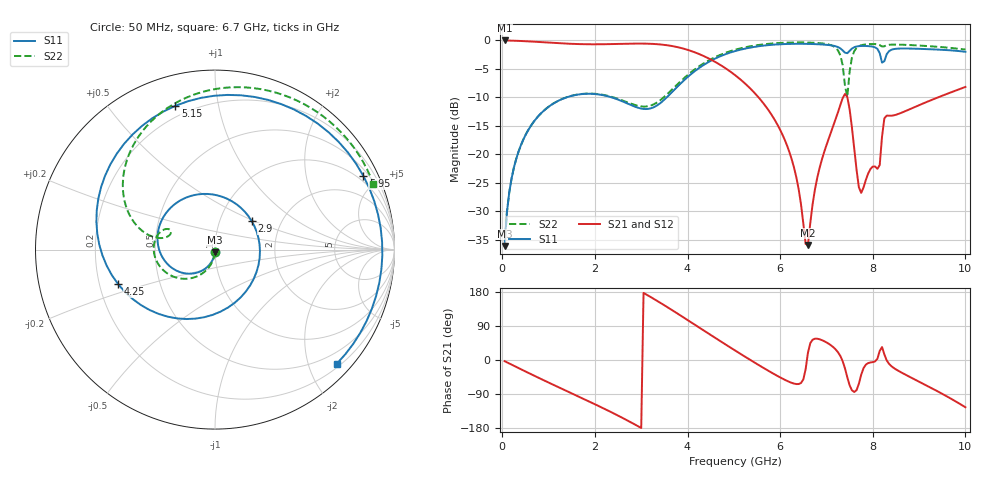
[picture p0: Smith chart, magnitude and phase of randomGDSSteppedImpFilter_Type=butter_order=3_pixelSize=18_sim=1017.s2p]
! freq	dB(S11)	phase(S11)	dB(S12)	phase(S12)
!  dB(S21)	phase(S21)	dB(S22)	phase(S22)
!S-par simulation data
#  GHz  S  DB  R 50
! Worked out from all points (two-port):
!   200 points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, 50 MHz to 10 GHz, reference 50 ohm
!   highest |S21| = -0.01 dB at 50 MHz (marker M1); lowest = -35.9 dB at 6.6 GHz (marker M2)
!   |S21| within 3 dB of the highest: start of sweep to 4.418 GHz
!   lowest |S11| = -36.1 dB at 50 MHz (marker M3), VSWR 1.03, Z = 49.9 - j1.57 ohm
!   |S11| at or under -10 dB: start of sweep to 1.385 GHz; 2.363 GHz to 3.551 GHz (1.189 GHz wide, 40.2 % of centre)
!   |S22| runs from -36.1 to -0.4 dB; largest |S21 - S12| = 0
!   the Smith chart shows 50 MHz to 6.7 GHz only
!   S11 on the Smith chart (normalised r, x): 50 MHz: 1.00, -0.03; 2.9 GHz: 1.42, +0.48; 4.25 GHz: 0.28, -0.16; 5.15 GHz: 0.15, +0.75; 5.95 GHz: 0.74, +4.13; 6.7 GHz: 0.26, -2.50
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0.05  -36.06 -92.8  -0.01 -3.1  -0.01 -3.1  -36.11 -92.3
0.2  -24.24 -103.7  -0.04 -12.2  -0.04 -12.2  -24.23 -101.1
0.5  -16.63 -124.0  -0.14 -30.2  -0.14 -30.2  -16.62 -117.4
1.75  -9.40 151.2  -0.66 -102.4  -0.66 -102.4  -9.37 -176.9
2.9  -11.73 37.8  -0.55 -172.7  -0.55 -172.7  -11.41 156.9
3.4  -11.08 -45.3  -0.70 151.9  -0.70 151.9  -10.56 167.4
4.25  -4.83 -160.5  -2.39 85.8  -2.39 85.8  -4.54 149.3
4.65  -2.98 156.4  -4.02 54.3  -4.02 54.3  -2.73 129.5
5.05  -1.82 115.4  -6.24 23.3  -6.24 23.3  -1.59 108.4
5.15  -1.61 105.4  -6.91 15.7  -6.91 15.7  -1.38 103.0
5.95  -0.70 26.5  -14.92 -42.6  -14.92 -42.6  -0.46 61.1
6.6  -0.61 -34.3  -35.90 19.1  -35.90 19.1  -0.37 27.9
6.7  -0.63 -43.3  -28.79 53.4  -28.79 53.4  -0.40 22.6
7.15  -0.93 -83.5  -14.96 33.6  -14.96 33.6  -1.02 -5.6
7.4  -2.15 -102.9  -9.40 -22.2  -9.40 -22.2  -7.95 -26.6
7.5  -1.84 -103.9  -12.08 -66.7  -12.08 -66.7  -5.51 27.8
7.75  -0.98 -126.8  -26.76 -38.9  -26.76 -38.9  -0.85 -1.1
8.15  -2.23 -169.8  -21.87 24.1  -21.87 24.1  -0.83 -25.6
8.35  -1.89 -167.4  -13.21 -10.0  -13.21 -10.0  -0.77 -31.4
8.75  -1.42 154.2  -12.25 -41.5  -12.25 -41.5  -0.79 -48.1
9.3  -1.57 103.1  -10.35 -76.2  -10.35 -76.2  -1.05 -68.5
10  -2.00 29.0  -8.16 -124.7  -8.16 -124.7  -1.60 -92.9
